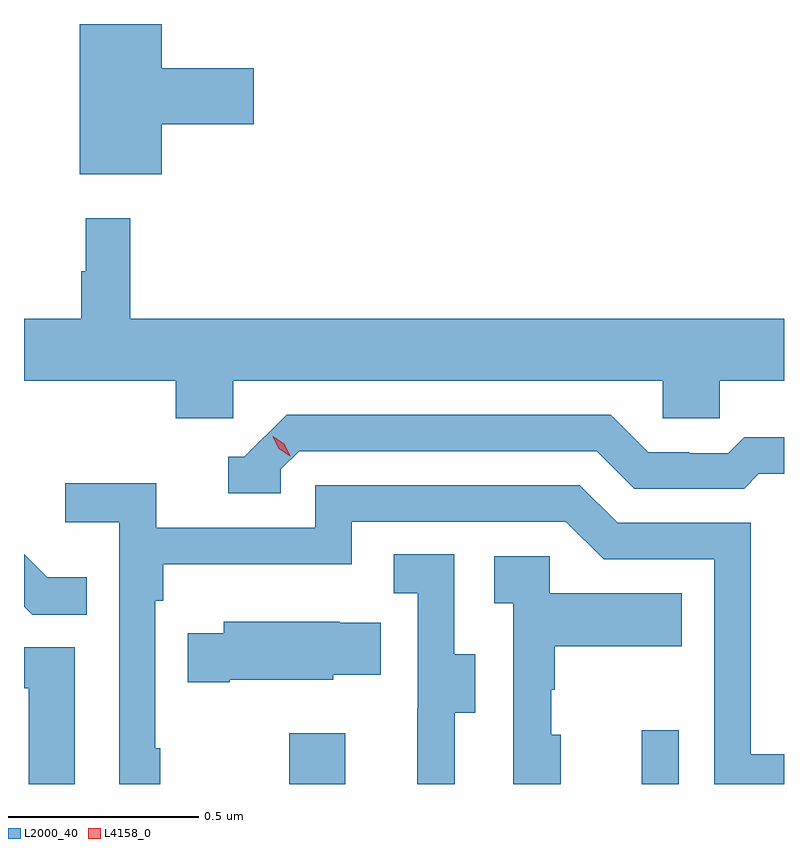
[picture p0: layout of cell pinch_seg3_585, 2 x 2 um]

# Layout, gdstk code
import gdstk
lib = gdstk.Library(unit=1e-6, precision=1e-09)
def R(c, l, rs):  # rectangles x0, y0, x1, y1
    for r in rs: c.add(gdstk.rectangle(r[:2], r[2:], *l))
def P(c, l, *ps):  # polygons
    for p in ps: c.add(gdstk.Polygon(p, *l))
L2000_40 = (2000, 40)
L4158_0 = (4158, 0)

pinch_seg3_585 = lib.new_cell('pinch_seg3_585')
R(pinch_seg3_585, L2000_40, [(1078.246,689.199,1078.393,689.332), (1079.174,689.199,1079.271,689.341)])
P(pinch_seg3_585, L2000_40, [(1077.91,690.935),(1078.153,690.935),(1078.153,691.082),(1077.91,691.082),(1077.91,691.199),(1077.695,691.199),(1077.695,690.803),(1077.91,690.803)],
  [(1078.098,690.26),(1079.229,690.26),(1079.229,690.162),(1079.379,690.162),(1079.379,690.26),(1079.548,690.26),(1079.548,690.424),(1077.827,690.424),(1077.827,690.688),(1077.71,690.688),(1077.71,690.548),(1077.699,690.548),(1077.699,690.424),(1077.548,690.424),(1077.548,690.26),(1077.947,690.26),(1077.947,690.162),(1078.098,690.162)],
  [(1078.224,690.027),(1078.272,690.075),(1079.055,690.075),(1079.154,689.976),(1079.443,689.976),(1079.482,690.015),(1079.548,690.015),(1079.548,690.112),(1079.443,690.112),(1079.401,690.069),(1079.298,690.069),(1079.298,690.072),(1079.191,690.072),(1079.092,690.171),(1078.239,690.171),(1078.128,690.06),(1078.085,690.06),(1078.085,689.964),(1078.224,689.964)],
  [(1077.907,689.293),(1077.894,689.293),(1077.894,689.681),(1077.914,689.681),(1077.914,689.777),(1078.41,689.777),(1078.41,689.889),(1078.974,689.889),(1079.073,689.79),(1079.364,689.79),(1079.364,689.199),(1079.548,689.199),(1079.548,689.277),(1079.46,689.277),(1079.46,689.886),(1079.11,689.886),(1079.011,689.985),(1078.314,689.985),(1078.314,689.874),(1077.896,689.874),(1077.896,689.99),(1077.657,689.99),(1077.657,689.888),(1077.798,689.888),(1077.798,689.199),(1077.907,689.199)],
  [(1077.713,689.743),(1077.609,689.743),(1077.548,689.804),(1077.548,689.666),(1077.57,689.644),(1077.713,689.644)],
  [(1078.681,689.386),(1078.735,689.386),(1078.735,689.541),(1078.68,689.541),(1078.68,689.804),(1078.521,689.804),(1078.521,689.701),(1078.584,689.701),(1078.584,689.397),(1078.583,689.397),(1078.583,689.199),(1078.681,689.199)],
  [(1078.96,689.328),(1078.935,689.328),(1078.935,689.447),(1078.945,689.447),(1078.945,689.561),(1079.279,689.561),(1079.279,689.701),(1078.932,689.701),(1078.932,689.799),(1078.785,689.799),(1078.785,689.675),(1078.836,689.675),(1078.836,689.199),(1078.96,689.199)],
  [(1078.09,689.474),(1078.362,689.474),(1078.362,689.486),(1078.487,689.486),(1078.487,689.623),(1078.379,689.623),(1078.379,689.626),(1078.073,689.626),(1078.073,689.596),(1077.979,689.596),(1077.979,689.467),(1078.09,689.467)],
  [(1077.682,689.559),(1077.548,689.559),(1077.548,689.451),(1077.56,689.451),(1077.56,689.199),(1077.682,689.199)])
P(pinch_seg3_585, L4158_0, [(1078.248,690.062),(1078.218,690.081),(1078.202,690.114),(1078.202,690.114),(1078.202,690.114),(1078.233,690.094),(1078.249,690.062),(1078.249,690.062)])

lib.write_gds('pinch_seg3_585.gds')
